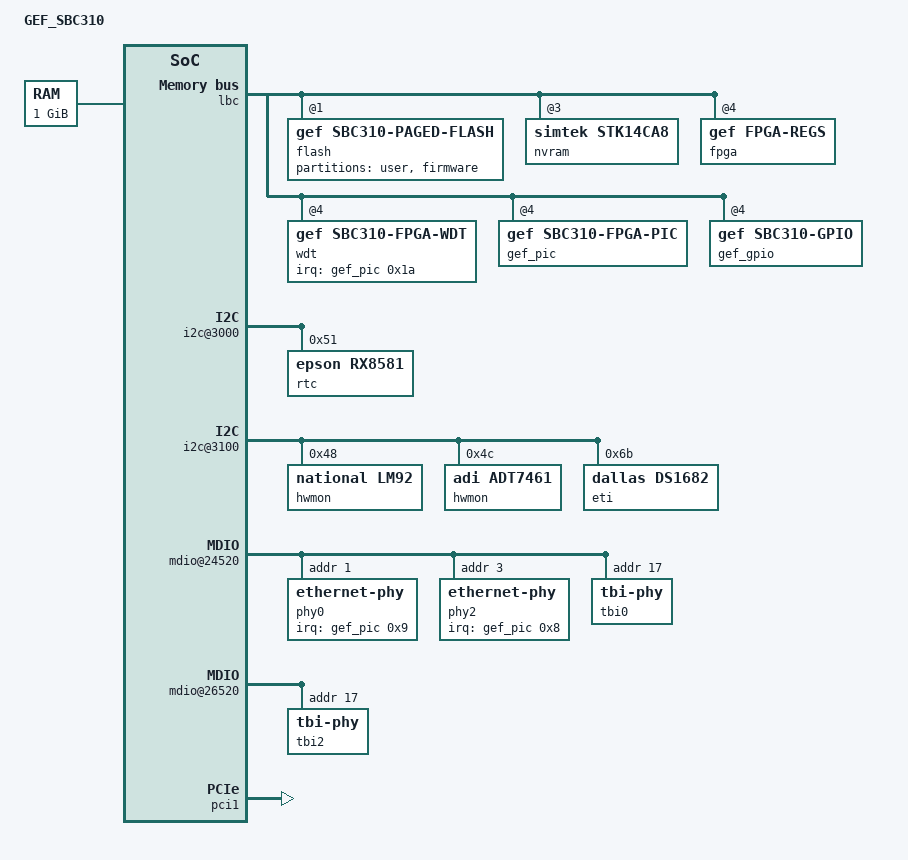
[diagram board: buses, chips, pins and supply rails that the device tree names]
/*
 * GE SBC310 Device Tree Source
 *
 * Copyright 2008 GE Intelligent Platforms Embedded Systems, Inc.
 *
 * This program is free software; you can redistribute  it and/or modify it
 * under  the terms of  the GNU General  Public License as published by the
 * Free Software Foundation;  either version 2 of the  License, or (at your
 * option) any later version.
 *
 * Based on: SBS CM6 Device Tree Source
 * Copyright 2007 SBS Technologies GmbH & Co. KG
 * And: mpc8641_hpcn.dts (MPC8641 HPCN Device Tree Source)
 * Copyright 2006 Freescale Semiconductor Inc.
 */

/*
 * Compiled with dtc -I dts -O dtb -o gef_sbc310.dtb gef_sbc310.dts
 */

/include/ "mpc8641si-pre.dtsi"

/ {
	model = "GEF_SBC310";
	compatible = "gef,sbc310";

	aliases {
		pci1 = &pci1;
	};

	memory {
		device_type = "memory";
		reg = <0x0 0x40000000>;	// set by uboot
	};

	lbc: localbus@fef05000 {
		reg = <0xfef05000 0x1000>;

		ranges = <0 0 0xff000000 0x01000000	// 16MB Boot flash
			  1 0 0xe0000000 0x08000000	// Paged Flash 0
			  2 0 0xe8000000 0x08000000	// Paged Flash 1
			  3 0 0xfc100000 0x00020000	// NVRAM
			  4 0 0xfc000000 0x00010000>;	// FPGA

		/* flash@0,0 is a mirror of part of the memory in flash@1,0
		flash@0,0 {
			compatible = "gef,sbc310-firmware-mirror", "cfi-flash";
			reg = <0x0 0x0 0x01000000>;
			bank-width = <2>;
			device-width = <2>;
			#address-cells = <1>;
			#size-cells = <1>;
			partition@0 {
				label = "firmware";
				reg = <0x0 0x01000000>;
				read-only;
			};
		};
		*/

		flash@1,0 {
			compatible = "gef,sbc310-paged-flash", "cfi-flash";
			reg = <0x1 0x0 0x8000000>;
			bank-width = <2>;
			device-width = <2>;
			#address-cells = <1>;
			#size-cells = <1>;
			partition@0 {
				label = "user";
				reg = <0x0 0x7800000>;
			};
			partition@7800000 {
				label = "firmware";
				reg = <0x7800000 0x800000>;
				read-only;
			};
		};

		nvram@3,0 {
			device_type = "nvram";
			compatible = "simtek,stk14ca8";
			reg = <0x3 0x0 0x20000>;
		};

		fpga@4,0 {
			compatible = "gef,fpga-regs";
			reg = <0x4 0x0 0x40>;
		};

		wdt@4,2000 {
			compatible = "gef,sbc310-fpga-wdt", "gef,fpga-wdt-1.00",
				"gef,fpga-wdt";
			reg = <0x4 0x2000 0x8>;
			interrupts = <0x1a 0x4>;
			interrupt-parent = <&gef_pic>;
		};
/*
		wdt@4,2010 {
			compatible = "gef,sbc310-fpga-wdt", "gef,fpga-wdt-1.00",
				"gef,fpga-wdt";
			reg = <0x4 0x2010 0x8>;
			interrupts = <0x1b 0x4>;
			interrupt-parent = <&gef_pic>;
		};
*/
		gef_pic: pic@4,4000 {
			#interrupt-cells = <1>;
			interrupt-controller;
			compatible = "gef,sbc310-fpga-pic", "gef,fpga-pic";
			reg = <0x4 0x4000 0x20>;
			interrupts = <0x8 0x9 0 0>;

		};
		gef_gpio: gpio@4,8000 {
			#gpio-cells = <2>;
			compatible = "gef,sbc310-gpio";
			reg = <0x4 0x8000 0x24>;
			gpio-controller;
		};
	};

	soc: soc@fef00000 {
		ranges = <0x0 0xfef00000 0x00100000>;

		i2c@3000 {
			rtc@51 {
				compatible = "epson,rx8581";
				reg = <0x00000051>;
			};
		};

		i2c@3100 {
			hwmon@48 {
				compatible = "national,lm92";
				reg = <0x48>;
			};

			hwmon@4c {
				compatible = "adi,adt7461";
				reg = <0x4c>;
			};

			eti@6b {
				compatible = "dallas,ds1682";
				reg = <0x6b>;
			};
		};

		enet0: ethernet@24000 {
			tbi-handle = <&tbi0>;
			phy-handle = <&phy0>;
			phy-connection-type = "gmii";
		};

		mdio@24520 {
			phy0: ethernet-phy@0 {
				interrupt-parent = <&gef_pic>;
				interrupts = <0x9 0x4>;
				reg = <1>;
			};
			phy2: ethernet-phy@2 {
				interrupt-parent = <&gef_pic>;
				interrupts = <0x8 0x4>;
				reg = <3>;
			};
			tbi0: tbi-phy@11 {
				reg = <0x11>;
				device_type = "tbi-phy";
			};
		};

		enet1: ethernet@26000 {
			tbi-handle = <&tbi2>;
			phy-handle = <&phy2>;
			phy-connection-type = "gmii";
		};

		mdio@26520 {
			tbi2: tbi-phy@11 {
				reg = <0x11>;
				device_type = "tbi-phy";
			};
		};

		enet2: ethernet@25000 {
			status = "disabled";
		};

		mdio@25520 {
			status = "disabled";
		};

		enet3: ethernet@27000 {
			status = "disabled";
		};

		mdio@27520 {
			status = "disabled";
		};
	};

	pci0: pcie@fef08000 {
		reg = <0xfef08000 0x1000>;
		ranges = <0x02000000 0x0 0x80000000 0x80000000 0x0 0x40000000
			  0x01000000 0x0 0x00000000 0xfe000000 0x0 0x00400000>;
		interrupt-map-mask = <0xff00 0x0 0x0 0x7>;
		interrupt-map = <
			0x0000 0x0 0x0 0x1 &mpic 0x0 0x2
			0x0000 0x0 0x0 0x2 &mpic 0x1 0x2
			0x0000 0x0 0x0 0x3 &mpic 0x2 0x2
			0x0000 0x0 0x0 0x4 &mpic 0x3 0x2
		>;

		pcie@0 {
			ranges = <0x02000000 0x0 0x80000000
				  0x02000000 0x0 0x80000000
				  0x0 0x40000000

				  0x01000000 0x0 0x00000000
				  0x01000000 0x0 0x00000000
				  0x0 0x00400000>;
		};
	};

	pci1: pcie@fef09000 {
		compatible = "fsl,mpc8641-pcie";
		device_type = "pci";
		#size-cells = <2>;
		#address-cells = <3>;
		reg = <0xfef09000 0x1000>;
		bus-range = <0x0 0xff>;
		ranges = <0x02000000 0x0 0xc0000000 0xc0000000 0x0 0x20000000
			  0x01000000 0x0 0x00000000 0xfe400000 0x0 0x00400000>;
		clock-frequency = <100000000>;
		interrupts = <0x19 0x2 0 0>;
		interrupt-map-mask = <0xf800 0x0 0x0 0x7>;
		interrupt-map = <
			0x0000 0x0 0x0 0x1 &mpic 0x4 0x2
			0x0000 0x0 0x0 0x2 &mpic 0x5 0x2
			0x0000 0x0 0x0 0x3 &mpic 0x6 0x2
			0x0000 0x0 0x0 0x4 &mpic 0x7 0x2
			>;

		pcie@0 {
			reg = <0 0 0 0 0>;
			#size-cells = <2>;
			#address-cells = <3>;
			device_type = "pci";
			ranges = <0x02000000 0x0 0xc0000000
				  0x02000000 0x0 0xc0000000
				  0x0 0x20000000

				  0x01000000 0x0 0x00000000
				  0x01000000 0x0 0x00000000
				  0x0 0x00400000>;
		};
	};
};

/include/ "mpc8641si-post.dtsi"
